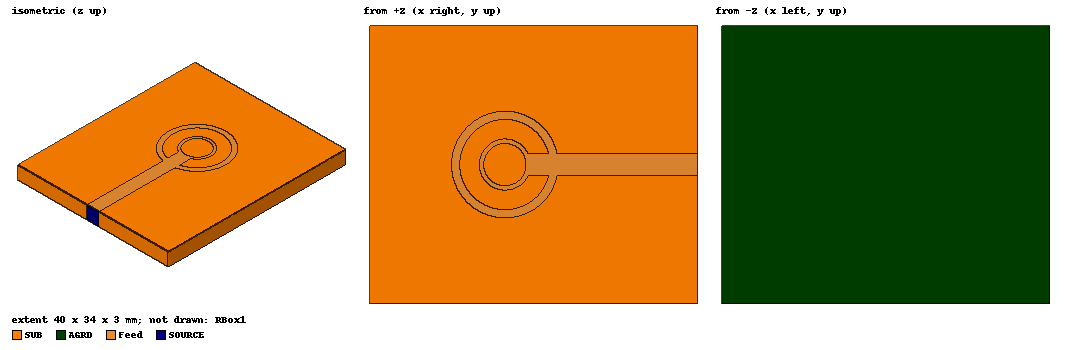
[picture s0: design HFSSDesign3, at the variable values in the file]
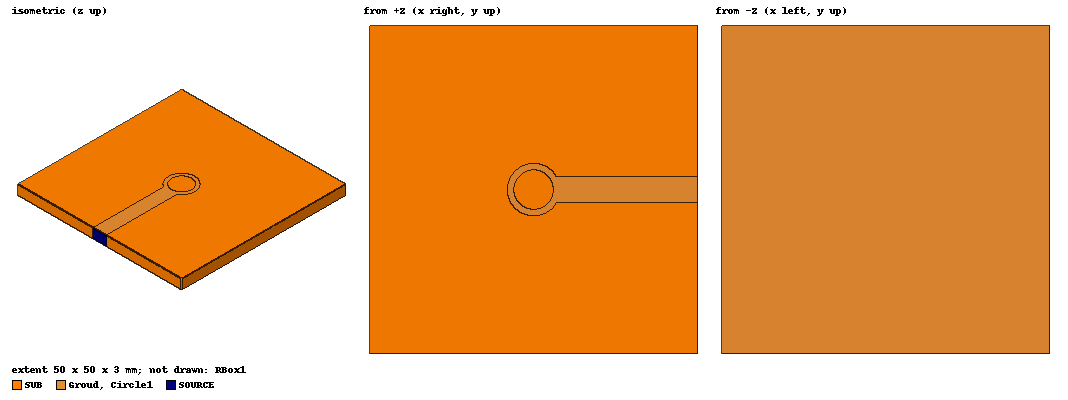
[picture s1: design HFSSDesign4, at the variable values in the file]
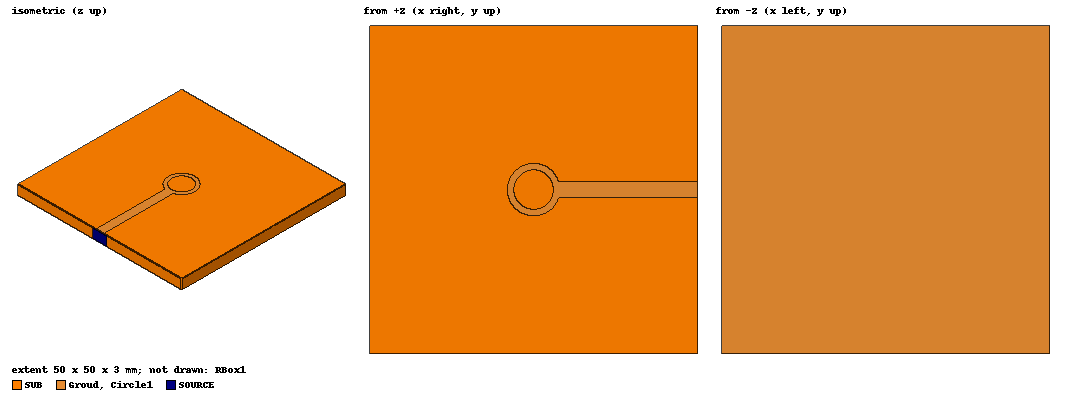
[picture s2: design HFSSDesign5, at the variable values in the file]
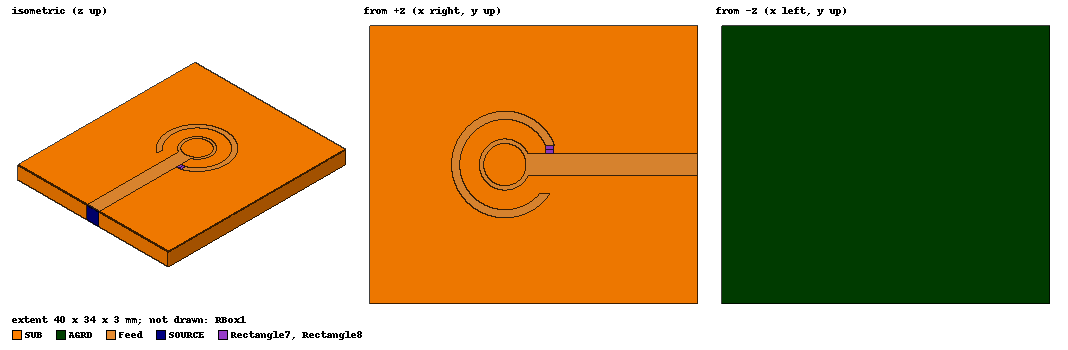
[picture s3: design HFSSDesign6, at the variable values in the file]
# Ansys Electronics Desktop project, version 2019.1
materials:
  FR4_epoxy: permittivity=4.4 dielectric_loss_tangent=0.02
  vacuum: permittivity=1
  Rogers RT/duroid 5880 (tm): permittivity=2.2 dielectric_loss_tangent=0.0009

design HFSSDesign3 (HFSS, DrivenModal, model units mm)
options: Calculate_Lossy_Dielectrics
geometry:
  AGRD = rectangle(corner=(22mm, -17mm, 0mm), x_size=-40mm, y_size=34mm)
  SUB [Rogers RT/duroid 5880 (tm)] = box(corner=(22mm, -17mm, 0mm), size=(-40mm, 34mm, 3mm))
  SOURCE = rectangle(corner=(22mm, -1.35mm, 0mm), y_size=2.7mm, z_size=3mm)
  RBox1 [vacuum] = box(corner=(-35mm, -35mm, -20mm), size=(70mm, 70mm, 40mm))
  Feed = rectangle(corner=(22mm, -1.35mm, 3mm), x_size=-21mm, y_size=2.7mm)
  Circle1 = circle(normal=Z, centre=(-1.5mm, 0mm, 3mm), radius=3.12mm)
  Feed.unite(Circle1)
  Circle2 = circle(normal=Z, centre=(-1.5mm, 0mm, 3mm), radius=2.577mm)
  Feed.subtract(Circle2)
  Rectangle1 = rectangle(corner=(1.9272203mm, -0.85mm, 1.6mm), x_size=1.5mm, y_size=-1.7mm)
  Feed.subtract(Rectangle1)
  Circle3 = circle(normal=Z, centre=(-1.5mm, 0mm, 3mm), radius=5.5mm)
  Circle10 = circle(normal=Z, centre=(-1.5mm, 0mm, 3mm), radius=6.5mm)
  Circle10.subtract(Circle3)
  Rectangle5 = rectangle(corner=(50mm, -50mm, 3mm), x_size=-3mm, y_size=6mm)
  Circle10.subtract(Rectangle5)
  Feed.unite(Circle10)
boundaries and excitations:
  PerfE1: Perfect E Objects=AGRD
  Rad1: Radiation Objects=RBox1
  PerfE2: Perfect E Objects=Feed
  1: Lumped Port Objects=SOURCE Modes{Mode1{IntLine{middle of SOURCE.edge(z at corner) -> middle of SOURCE.edge(z opposite corner)} CharImp=Zpi RenormImp=75ohm}} Impedance=75ohm
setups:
  Setup1: HfssDriven AdaptMultipleFreqs MultipleAdaptiveFreqsSetup{4GHz(0.02) 6GHz(0.02) 15GHz(0.02) 20GHz(0.02)} MaximumPasses=15 MinimumPasses=1 MinimumConvergedPasses=1 PercentRefinement=30 BasisOrder=1 PortAccuracy=2
    sweep Sweep: 1GHz to 25GHz, 451 points; Type=Fast SaveFields
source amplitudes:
  1:1: 1W 0deg
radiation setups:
  Infinite Sphere1: Infinite Sphere Theta=0deg..360deg step 5deg Phi=-180deg..180deg step 5deg
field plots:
  Mag_Jsurf1: Jsurf over Feed.face(at (11.5, 0, 3)) on Setup1 : LastAdaptive at Freq=4GHz Phase=0deg
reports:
  S Parameter Plot 1: dB(S(1,1)) vs Freq on Setup1 : Sweep; markers m1 at 16.52GHz

design HFSSDesign4 (HFSS, DrivenModal, model units mm)
options: Calculate_Lossy_Dielectrics
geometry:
  SUB [Rogers RT/duroid 5880 (tm)] = box(corner=(25mm, -25mm, 0mm), size=(-50mm, 50mm, 3mm))
  SOURCE = rectangle(corner=(25mm, -2mm, 0mm), y_size=4mm, z_size=3mm)
  RBox1 [vacuum] = box(corner=(-35mm, -35mm, -20mm), size=(70mm, 70mm, 40mm))
  Groud = rectangle(corner=(25mm, -25mm, 0mm), x_size=-50mm, y_size=50mm)
  Feed = rectangle(corner=(25mm, -2mm, 3mm), x_size=-22mm, y_size=4mm)
  Circle1 = circle(normal=Z, centre=(0mm, 0mm, 3mm), radius=15mm)
  Circle2 = circle(normal=Z, centre=(0mm, 0mm, 3mm), radius=15mm)
  Circle1.subtract(Circle2)
  Circle1.unite(Feed)
  Circle3 = circle(normal=Z, centre=(0mm, 0mm, 3mm), radius=3mm)
  Circle4 = circle(normal=Z, centre=(0mm, 0mm, 3mm), radius=4mm)
  Circle4.subtract(Circle3)
  Circle1.unite(Circle4)
  Rectangle1 = rectangle(corner=(101mm, 2mm, 3mm), x_size=4mm, y_size=3mm)
  Rectangle2 = rectangle(corner=(101mm, -2mm, 3mm), x_size=4mm, y_size=-4mm)
  Circle1.subtract(Rectangle1, Rectangle2)
  Rectangle5 = rectangle(corner=(3.7mm, -2mm, 3mm), x_size=1mm, y_size=-2mm)
  Circle1.subtract(Rectangle5)
  Circle5 = circle(normal=Z, centre=(0mm, 0mm, 3mm), radius=10mm)
  Circle6 = circle(normal=Z, centre=(0mm, 0mm, 3mm), radius=8.2462113mm)
  Circle6.subtract(Circle5)
  Circle1.unite(Circle6)
  Rectangle8S = rectangle(corner=(50.002051mm, 2mm, 3mm), x_size=3.5mm, y_size=3mm)
  Rectangle8S1 = rectangle(corner=(40.3mm, -2mm, 3mm), x_size=4mm, y_size=-3.5mm)
  Circle1.subtract(Rectangle8S, Rectangle8S1)
  Circle7 = circle(normal=Z, centre=(0mm, 0mm, 3mm), radius=20.5mm)
  Circle8 = circle(normal=Z, centre=(0mm, 0mm, 3mm), radius=21mm)
  Circle7.subtract(Circle8)
  Circle1.unite(Circle7)
  Rectangle8S2 = rectangle(corner=(107.5mm, -2mm, 3mm), x_size=4mm, y_size=-3.5mm)
  Rectangle8S3 = rectangle(corner=(170.5mm, 2mm, 3mm), x_size=3.5mm, y_size=3mm)
  Circle1.subtract(Rectangle8S2, Rectangle8S3)
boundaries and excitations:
  Rad1: Radiation Objects=RBox1
  PerfE1: Perfect E Objects=Groud
  PerfE2: Perfect E Objects=Circle1
  1: Lumped Port Objects=SOURCE Modes{Mode1{IntLine{middle of SOURCE.edge(z at corner) -> middle of SOURCE.edge(z opposite corner)} CharImp=Zpi RenormImp=75ohm}} Impedance=75ohm
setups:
  Setup1: HfssDriven Frequency=15GHz MaxDeltaS=0.02 MaximumPasses=6 MinimumPasses=1 MinimumConvergedPasses=1 PercentRefinement=30 BasisOrder=1 PortAccuracy=2
    sweep Sweep: 1GHz to 25GHz, 451 points; Type=Fast SaveFields
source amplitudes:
  1:1: 1W 0deg
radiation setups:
  Infinite Sphere1: Infinite Sphere Theta=0deg..360deg step 5deg Phi=-180deg..180deg step 5deg
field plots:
  Mag_Jsurf1: Jsurf over Circle1.face(#4056) on Setup1 : LastAdaptive at Freq=15GHz Phase=0deg
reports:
  S Parameter Plot 1: dB(S(1,1)) vs Freq on Setup1 : Sweep; dB(S(1,1)), dB(S(1,1)) vs Freq

design HFSSDesign5 (HFSS, DrivenModal, model units mm)
options: Calculate_Lossy_Dielectrics
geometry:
  SUB [Rogers RT/duroid 5880 (tm)] = box(corner=(25mm, -25mm, 0mm), size=(-50mm, 50mm, 3mm))
  SOURCE = rectangle(corner=(25mm, -2mm, 0mm), y_size=4mm, z_size=3mm)
  RBox1 [vacuum] = box(corner=(-35mm, -35mm, -20mm), size=(70mm, 70mm, 40mm))
  Groud = rectangle(corner=(25mm, -25mm, 0mm), x_size=-50mm, y_size=50mm)
  Feed = rectangle(corner=(25mm, -1.2mm, 3mm), x_size=-22mm, y_size=2.4mm)
  Circle1 = circle(normal=Z, centre=(0mm, 0mm, 3mm), radius=15mm)
  Circle2 = circle(normal=Z, centre=(0mm, 0mm, 3mm), radius=15mm)
  Circle1.subtract(Circle2)
  Circle1.unite(Feed)
  Circle3 = circle(normal=Z, centre=(0mm, 0mm, 3mm), radius=3mm)
  Circle4 = circle(normal=Z, centre=(0mm, 0mm, 3mm), radius=4mm)
  Circle4.subtract(Circle3)
  Circle1.unite(Circle4)
  Rectangle1 = rectangle(corner=(101mm, 2mm, 3mm), x_size=4mm, y_size=3mm)
  Rectangle2 = rectangle(corner=(101mm, -2mm, 3mm), x_size=4mm, y_size=-4mm)
  Circle1.subtract(Rectangle1, Rectangle2)
  Rectangle5 = rectangle(corner=(3.7mm, -2mm, 3mm), x_size=1mm, y_size=-2mm)
  Circle1.subtract(Rectangle5)
  Circle5 = circle(normal=Z, centre=(0mm, 0mm, 3mm), radius=10mm)
  Circle6 = circle(normal=Z, centre=(0mm, 0mm, 3mm), radius=8.2462113mm)
  Circle6.subtract(Circle5)
  Circle1.unite(Circle6)
  Rectangle8S = rectangle(corner=(50.002051mm, 2mm, 3mm), x_size=3.5mm, y_size=3mm)
  Rectangle8S1 = rectangle(corner=(40.3mm, -2mm, 3mm), x_size=4mm, y_size=-3.5mm)
  Circle1.subtract(Rectangle8S, Rectangle8S1)
  Circle7 = circle(normal=Z, centre=(0mm, 0mm, 3mm), radius=20.5mm)
  Circle8 = circle(normal=Z, centre=(0mm, 0mm, 3mm), radius=21mm)
  Circle7.subtract(Circle8)
  Circle1.unite(Circle7)
  Rectangle8S2 = rectangle(corner=(107.5mm, -2mm, 3mm), x_size=4mm, y_size=-3.5mm)
  Rectangle8S3 = rectangle(corner=(170.5mm, 2mm, 3mm), x_size=3.5mm, y_size=3mm)
  Circle1.subtract(Rectangle8S2, Rectangle8S3)
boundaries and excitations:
  Rad1: Radiation Objects=RBox1
  PerfE1: Perfect E Objects=Groud
  PerfE2: Perfect E Objects=Circle1
  1: Lumped Port Objects=SOURCE Modes{Mode1{IntLine{middle of SOURCE.edge(z at corner) -> middle of SOURCE.edge(z opposite corner)} CharImp=Zpi RenormImp=75ohm}} Impedance=75ohm
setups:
  Setup1: HfssDriven Frequency=15GHz MaxDeltaS=0.02 MaximumPasses=6 MinimumPasses=1 MinimumConvergedPasses=1 PercentRefinement=30 BasisOrder=1 PortAccuracy=2
    sweep Sweep: 1GHz to 25GHz, 451 points; Type=Fast SaveFields
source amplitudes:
  1:1: 1W 0deg
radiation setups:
  Infinite Sphere1: Infinite Sphere Theta=0deg..360deg step 5deg Phi=-180deg..180deg step 5deg
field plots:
  Mag_Jsurf1: Jsurf over Circle1.face(#4056) on Setup1 : LastAdaptive at Freq=15GHz Phase=0deg

design HFSSDesign6 (HFSS, DrivenModal, model units mm)
options: Calculate_Lossy_Dielectrics
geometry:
  AGRD = rectangle(corner=(22mm, -17mm, 0mm), x_size=-40mm, y_size=34mm)
  SUB [Rogers RT/duroid 5880 (tm)] = box(corner=(22mm, -17mm, 0mm), size=(-40mm, 34mm, 3mm))
  SOURCE = rectangle(corner=(22mm, -1.35mm, 0mm), y_size=2.7mm, z_size=3mm)
  RBox1 [vacuum] = box(corner=(-35mm, -35mm, -20mm), size=(70mm, 70mm, 40mm))
  Feed = rectangle(corner=(22mm, -1.35mm, 3mm), x_size=-21mm, y_size=2.7mm)
  Circle1 = circle(normal=Z, centre=(-1.5mm, 0mm, 3mm), radius=3.12mm)
  Feed.unite(Circle1)
  Circle2 = circle(normal=Z, centre=(-1.5mm, 0mm, 3mm), radius=2.577mm)
  Feed.subtract(Circle2)
  Rectangle1 = rectangle(corner=(1.9272203mm, -0.85mm, 1.6mm), x_size=1.5mm, y_size=-1.7mm)
  Feed.subtract(Rectangle1)
  Circle3 = circle(normal=Z, centre=(-1.5mm, 0mm, 3mm), radius=5.5mm)
  Circle10 = circle(normal=Z, centre=(-1.5mm, 0mm, 3mm), radius=6.5mm)
  Circle10.subtract(Circle3)
  Rectangle5 = rectangle(corner=(50mm, -50mm, 3mm), x_size=-3mm, y_size=6mm)
  Circle10.subtract(Rectangle5)
  Feed.unite(Circle10)
  Rectangle6 = rectangle(corner=(3.2020109mm, 1.35mm, 3mm), x_size=2.2979891mm, y_size=1mm)
  Feed.subtract(Rectangle6)
  Rectangle7 = rectangle(corner=(3.4726753mm, 2.35mm, 3mm), x_size=1.0273247mm, y_size=-0.5mm)
  Rectangle8 = rectangle(corner=(3.4726753mm, 1.85mm, 3mm), x_size=1.0273247mm, y_size=-0.5mm)
  Rectangle9 = rectangle(corner=(2.5722773mm, -1.35mm, 3mm), x_size=3mm, y_size=-2.15mm)
  Feed.subtract(Rectangle9)
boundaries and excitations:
  PerfE1: Perfect E Objects=AGRD
  Rad1: Radiation Objects=RBox1
  PerfE2: Perfect E Objects=Feed
  rc1: Lumped RLC Objects=Rectangle7 CurrentLine{middle of Rectangle7.edge(y opposite corner) -> Rectangle7.edge(y at corner) at 0.529 along} Resistance=1ohm
  LumpRLC1: Lumped RLC Objects=Rectangle8 CurrentLine{middle of Rectangle8.edge(y opposite corner) -> middle of Rectangle8.edge(y at corner)} Inductance=0.7nH
  1: Lumped Port Objects=SOURCE Modes{Mode1{IntLine{middle of SOURCE.edge(z at corner) -> middle of SOURCE.edge(z opposite corner)} CharImp=Zpi RenormImp=75ohm}} Impedance=75ohm
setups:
  Setup1: HfssDriven AdaptMultipleFreqs MultipleAdaptiveFreqsSetup{4GHz(0.02) 6GHz(0.02) 15GHz(0.02) 20GHz(0.02)} MaximumPasses=15 MinimumPasses=1 MinimumConvergedPasses=1 PercentRefinement=30 BasisOrder=1 PortAccuracy=2
    sweep Sweep: 1GHz to 25GHz, 451 points; Type=Fast SaveFields
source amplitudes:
  1:1: 1W 0deg
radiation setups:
  Infinite Sphere1: Infinite Sphere Theta=0deg..360deg step 5deg Phi=-180deg..180deg step 5deg
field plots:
  Mag_Jsurf1: Jsurf over Feed.face(all 2) on Setup1 : LastAdaptive at Freq=4GHz Phase=0deg
